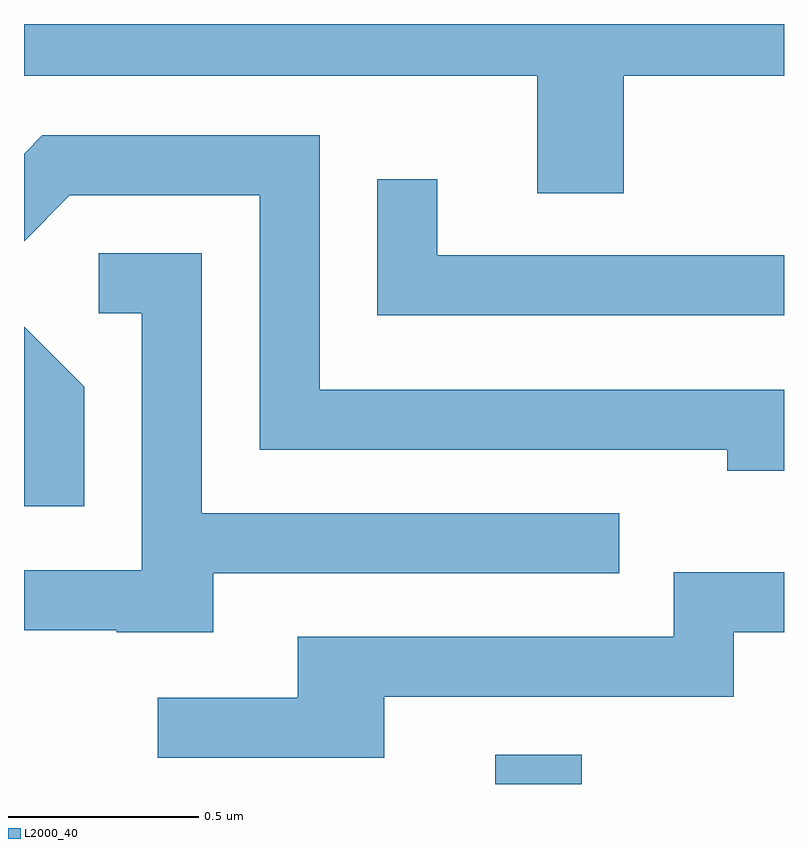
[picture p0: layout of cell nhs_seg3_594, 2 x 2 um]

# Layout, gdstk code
import gdstk
lib = gdstk.Library(unit=1e-6, precision=1e-09)
def R(c, l, rs):  # rectangles x0, y0, x1, y1
    for r in rs: c.add(gdstk.rectangle(r[:2], r[2:], *l))
def P(c, l, *ps):  # polygons
    for p in ps: c.add(gdstk.Polygon(p, *l))
L2000_40 = (2000, 40)

nhs_seg3_594 = lib.new_cell('nhs_seg3_594')
R(nhs_seg3_594, L2000_40, [(190.851,1161.892,191.079,1161.969)])
P(nhs_seg3_594, L2000_40, [(191.189,1163.756),(191.611,1163.756),(191.611,1163.892),(189.611,1163.892),(189.611,1163.756),(190.961,1163.756),(190.961,1163.446),(191.189,1163.446)],
  [(191.611,1162.929),(190.389,1162.929),(190.389,1163.599),(189.659,1163.599),(189.611,1163.551),(189.611,1163.32),(189.732,1163.441),(190.231,1163.441),(190.231,1162.771),(191.461,1162.771),(191.461,1162.716),(191.611,1162.716)],
  [(191.611,1163.284),(190.699,1163.284),(190.699,1163.483),(190.541,1163.483),(190.541,1163.126),(191.611,1163.126)],
  [(190.109,1162.446),(191.178,1162.446),(191.178,1162.604),(190.079,1162.604),(190.079,1163.289),(189.808,1163.289),(189.808,1163.131),(189.921,1163.131),(189.921,1162.454),(189.611,1162.454),(189.611,1162.296),(189.855,1162.296),(189.855,1162.291),(190.109,1162.291)],
  [(189.769,1162.937),(189.611,1163.095),(189.611,1162.623),(189.769,1162.623)],
  [(190.559,1162.121),(191.479,1162.121),(191.479,1162.291),(191.611,1162.291),(191.611,1162.449),(191.321,1162.449),(191.321,1162.279),(190.331,1162.279),(190.331,1162.119),(189.963,1162.119),(189.963,1161.961),(190.559,1161.961)])

lib.write_gds('nhs_seg3_594.gds')
